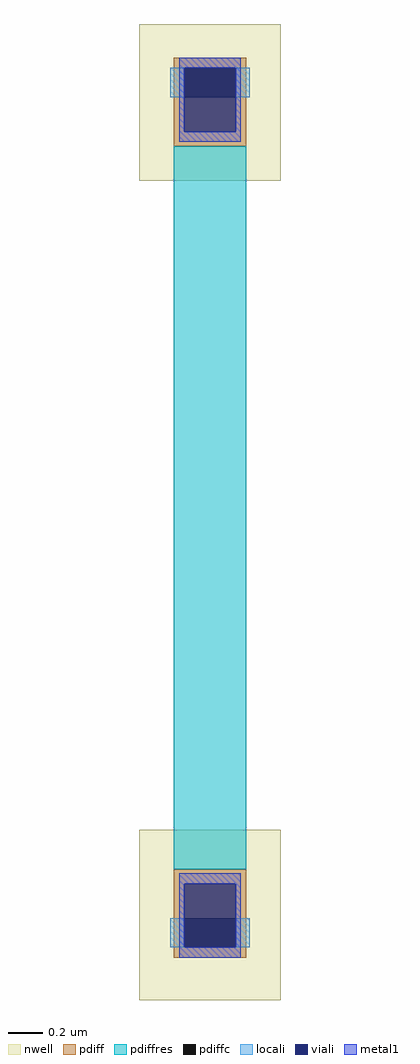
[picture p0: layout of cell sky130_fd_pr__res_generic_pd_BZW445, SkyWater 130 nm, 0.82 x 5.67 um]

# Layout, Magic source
magic
tech sky130A
magscale 1 2
<< nwell >>
rect -82 380 82 562
rect -82 -572 82 -374
<< pdiff >>
rect -42 511 42 523
rect -42 477 -30 511
rect 30 477 42 511
rect -42 420 42 477
rect -42 -477 42 -420
rect -42 -511 -30 -477
rect 30 -511 42 -477
rect -42 -523 42 -511
<< pdiffc >>
rect -30 477 30 511
rect -30 -511 30 -477
<< pdiffres >>
rect -42 -420 42 420
<< locali >>
rect -46 477 -30 511
rect 30 477 46 511
rect -46 -511 -30 -477
rect 30 -511 46 -477
<< viali >>
rect -30 477 30 511
rect -30 437 30 477
rect -30 -477 30 -437
rect -30 -511 30 -477
<< metal1 >>
rect -36 511 36 523
rect -36 437 -30 511
rect 30 437 36 511
rect -36 425 36 437
rect -36 -437 36 -425
rect -36 -511 -30 -437
rect 30 -511 36 -437
rect -36 -523 36 -511
<< properties >>
string gencell sky130_fd_pr__res_generic_pd
string library sky130
string parameters w 0.420 l 4.2 m 1 nx 1 wmin 0.42 lmin 2.10 rho 197 val 2.068k dummy 0 dw 0.02 term 0.0 sterm 0.0 caplen 0.60 snake 0 guard 0 glc 1 grc 1 gtc 1 gbc 1 roverlap 0 endcov 100 full_metal 1 vias 1 viagb 0 viagt 0 viagl 0 viagr 0
<< end >>
